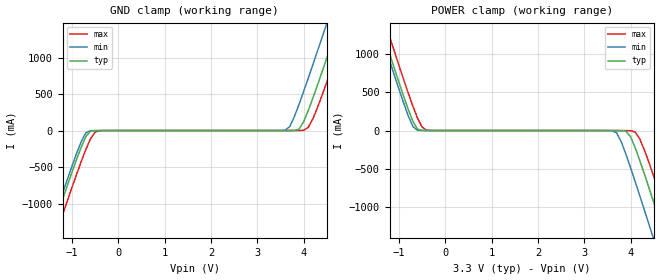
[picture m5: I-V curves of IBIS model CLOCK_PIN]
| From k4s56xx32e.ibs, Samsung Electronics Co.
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|   MODEL : CLOCK_PIN
[Model]   CLOCK_PIN
Model_type   Input
Vinl   = 0.800V
Vinh   = 2.000V
|   typ   min   max
C_comp   2.860pF   2.860pF   2.860pF
[Voltage Range]   3.300V   3.000V   3.600V
[Temperature Range]   25.0   85.0   0.0
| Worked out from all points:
|   GND clamp passes 1 mA (typ) near -0.42 V on its own axis
|   POWER clamp passes 1 mA (typ) near -0.50 V on its own axis
[GND Clamp]
|   Voltage   I(typ)   I(min)   I(max)
-3.3V     -4.969A    -4.888A    -5.172A
-1.5V     -1.5A      -1.416A    -1.709A
-1.4V     -1.311A    -1.226A    -1.52A
-800mV    -224.4mA   -148.7mA   -421.8mA
-500mV    -1.281mA   -950.1uA   -20.62mA
3.6V      356.8nA    2.47mA     124.9nA
4V        121.8mA    538.2mA    3.516mA
4.2V      448.2mA    906.4mA    163.1mA
4.5V      996.5mA    1.472A     666.5mA
4.7V      1.373A     1.854A     1.032A
4.9V      1.752A     2.237A     1.406A
6.6V      5.033A     5.529A     4.666A
[POWER Clamp]
|   Voltage   I(typ)   I(min)   I(max)
-3.3V     5.033A     4.946A     5.248A
-1.5V     1.562A     1.472A     1.783A
-1.3V     1.184A     1.094A     1.406A
-700mV    122mA      55.17mA    318.9mA
-400mV    11.77uA    646.9nA    3.519mA
3.6V      -780.8uA   -2.379mA   -123.3uA
3.9V      -8.69mA    -310.1mA   -1.007mA
4.1V      -224.4mA   -666.5mA   -20.62mA
4.5V      -936.1mA   -1.416A    -596.8mA
4.7V      -1.311A    -1.797A    -960.1mA
4.9V      -1.691A    -2.18A     -1.332A
6.6V      -4.969A    -5.471A    -4.591A
